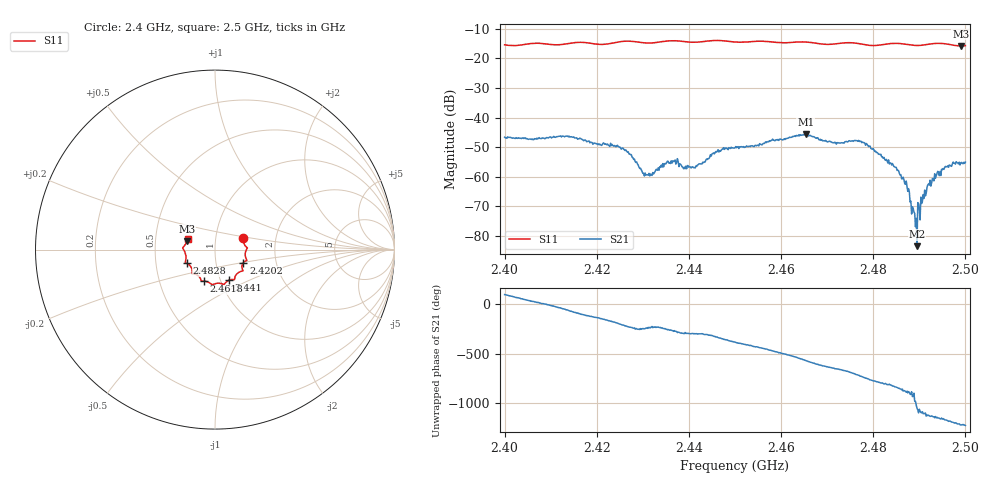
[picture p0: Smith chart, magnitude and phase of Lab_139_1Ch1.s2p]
# Hz S RI R 50
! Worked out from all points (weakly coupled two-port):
!   601 points, 2.4 GHz to 2.5 GHz, reference 50 ohm
!   highest |S21| = -45.68 dB at 2.4653 GHz (marker M1); lowest = -83.5 dB at 2.4895 GHz (marker M2)
!   lowest |S11| = -15.8 dB at 2.499 GHz (marker M3), VSWR 1.39, Z = 36.4 + j3.54 ohm
!   |S11| at or under -10 dB: start of sweep to end of sweep
!   S12 and S22 are empty: the file has one direction only
!   S11 on the Smith chart (normalised r, x): 2.4 GHz: 1.36, +0.17; 2.4202 GHz: 1.36, -0.20; 2.441 GHz: 1.10, -0.39; 2.4618 GHz: 0.84, -0.30; 2.4828 GHz: 0.72, -0.11; 2.5 GHz: 0.73, +0.09
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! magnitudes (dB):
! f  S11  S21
! 2.4 GHz  -15.4  -46.7
! 2.4167 GHz  -14.6  -47.3
! 2.4202 GHz  -15.2  -49.2
! 2.426 GHz  -14.2  -50.9
! 2.4305 GHz  -14.8  -58.8
! 2.4333 GHz  -14.5  -57.0
! 2.437 GHz  -14.0  -54.4
! 2.441 GHz  -14.5  -57.0
! 2.45 GHz  -14.4  -50.3
! 2.4618 GHz  -14.6  -46.6
! 2.4653 GHz  -14.5  -45.7
! 2.4667 GHz  -14.6  -46.4
! 2.4773 GHz  -15.1  -48.0
! 2.4828 GHz  -15.1  -54.1
! 2.4833 GHz  -15.0  -54.3
! 2.4868 GHz  -15.2  -62.4
! 2.489 GHz  -15.6  -72.4
! 2.4895 GHz  -15.6  -83.5
! 2.4917 GHz  -15.3  -63.7
! 2.4937 GHz  -14.9  -59.7
! 2.499 GHz  -15.8  -55.4
! 2.5 GHz  -15.7  -55.1
